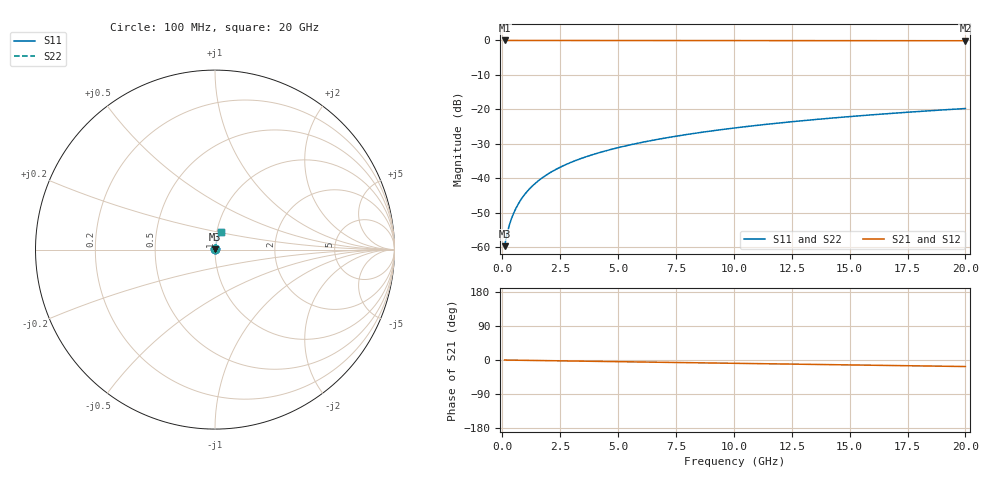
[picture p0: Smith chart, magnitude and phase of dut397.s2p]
! Touchstone file exported from HFSS 2026.1.0
!  File:  C:/ffzhzh/LocalFiles/Ansys_Project_Files/temp_train_BSMRDL_397_1783012280_46388.aedt
!  Generated:  01:12:45 AM Jul  3, 2026
!  Design:  BSMRDL
!  Project:  temp_train_BSMRDL_397_1783012280_46388
! Variables:
!  h_bsmrdl = 5.92um
!  h_ox = 20um
!  h_rdl = 5um
!  h_sub = 80um
!  h_tmrdl = 5um
!  h_tsv = 80um
!  h_via = 3um
!  l_bsmrdl = 265.49um
!  l_sub = 665.49um
!  l_tmrdl = 200um
!  m_sub = 200um
!  pitch = 42.53um
!  r_tsv = 6um
!  s_tmrdl = 10um
!  w_bsmrdl = 27.44um
!  w_sub = 500um
!  w_tmrdl = 12um
!  x_tsv_center1 = 206um
!  x_tsv_center2 = 498.93um
!  x_tsv_center3 = 710.93um
!  x_tsv_center4 = 1003.86um
!  x_tsv_center5 = 1215.86um
!  x_tsv_center6 = 1508.79um
# GHz S MA R 50.000000
! Terminal data exported
! Port[1] = BSM_RDL1_1_T1
! Port[2] = BSM_RDL1_1_T2
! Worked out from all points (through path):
!   200 points, 100 MHz to 20 GHz, reference 50 ohm
!   highest |S21| = -0.01 dB at 100 MHz (marker M1); lowest = -0.1 dB at 20 GHz (marker M2)
!   group delay of S21, straight-line fit = 2.39 ps
!   lowest |S11| = -59.8 dB at 100 MHz (marker M3), VSWR 1.00, Z = 50.1 + j0.0696 ohm
!   |S11| at or under -10 dB: start of sweep to end of sweep
!   |S22| runs from -59.8 to -19.8 dB; largest |S21 - S12| = 1.7e-14
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0.1  0.001029 42.4  0.9992 -0.1  0.9992 -0.1  0.001029 42.4
! Gamma 0 0 0 0
! Port Impedance 50 0 50 0
0.2  0.001538 56.8  0.9992 -0.2  0.9992 -0.2  0.001538 56.8
0.3  0.002059 64.3  0.9991 -0.3  0.9991 -0.3  0.002059 64.3
0.4  0.002597 69.1  0.999 -0.4  0.999 -0.4  0.002597 69.1
0.5  0.00315 72.3  0.999 -0.5  0.999 -0.5  0.00315 72.3
0.6  0.003711 74.5  0.999 -0.5  0.999 -0.5  0.003711 74.5
0.8  0.004847 77.3  0.9989 -0.7  0.9989 -0.7  0.004847 77.3
1.1  0.006563 79.5  0.9988 -1.0  0.9988 -1.0  0.006563 79.5
1.3  0.007705 80.2  0.9988 -1.2  0.9988 -1.2  0.007705 80.2
1.5  0.008842 80.7  0.9987 -1.3  0.9987 -1.3  0.008842 80.7
1.8  0.01054 81.1  0.9986 -1.6  0.9986 -1.6  0.01054 81.1
2.1  0.01221 81.3  0.9985 -1.9  0.9985 -1.9  0.01221 81.3
2.7  0.01551 81.3  0.9982 -2.4  0.9982 -2.4  0.01551 81.3
3.5  0.01983 81.1  0.9978 -3.1  0.9978 -3.1  0.01983 81.1
4.2  0.02354 80.7  0.9975 -3.7  0.9975 -3.7  0.02354 80.8
5  0.02774 80.4  0.9971 -4.4  0.9971 -4.4  0.02774 80.4
6.8  0.03707 79.4  0.9963 -6.0  0.9963 -6.0  0.03707 79.4
8.3  0.04476 78.4  0.9956 -7.3  0.9956 -7.3  0.04476 78.4
10.1  0.05392 77.2  0.9948 -8.8  0.9948 -8.8  0.05392 77.2
13.4  0.07048 74.9  0.9932 -11.6  0.9932 -11.6  0.07048 74.9
16.7  0.08673 72.4  0.9914 -14.4  0.9914 -14.4  0.08673 72.4
20  0.1026 69.8  0.9894 -17.2  0.9894 -17.2  0.1026 69.8
